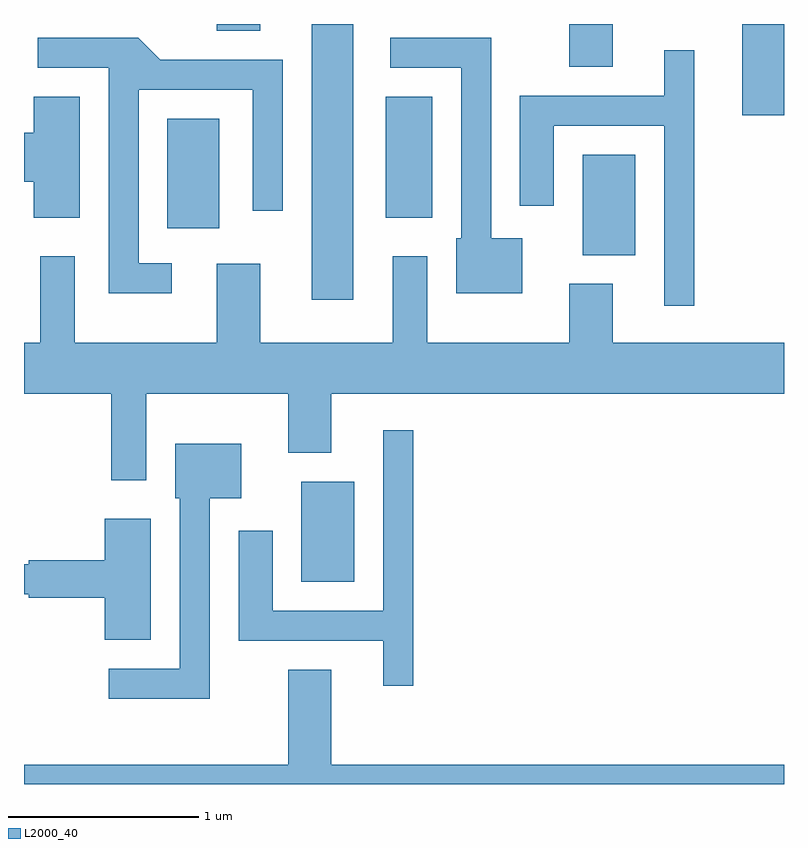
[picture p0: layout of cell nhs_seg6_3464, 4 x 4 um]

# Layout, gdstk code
import gdstk
lib = gdstk.Library(unit=1e-6, precision=1e-09)
def R(c, l, rs):  # rectangles x0, y0, x1, y1
    for r in rs: c.add(gdstk.rectangle(r[:2], r[2:], *l))
def P(c, l, *ps):  # polygons
    for p in ps: c.add(gdstk.Polygon(p, *l))
L2000_40 = (2000, 40)

nhs_seg6_3464 = lib.new_cell('nhs_seg6_3464')
R(nhs_seg6_3464, L2000_40, [(291.071,1591.226,291.349,1591.754), (291.126,1592.711,291.344,1594.162), (292.551,1592.946,292.829,1593.474), (290.366,1593.086,290.639,1593.664), (291.516,1593.141,291.759,1593.779), (293.391,1593.681,293.611,1594.162), (292.481,1593.936,292.709,1594.162), (290.626,1594.126,290.854,1594.162)])
P(nhs_seg6_3464, L2000_40, [(290.388,1592.904),(290.214,1592.904),(290.214,1593.816),(290.816,1593.816),(290.816,1593.178),(290.974,1593.178),(290.974,1593.974),(290.327,1593.974),(290.212,1594.089),(289.683,1594.089),(289.683,1593.931),(290.056,1593.931),(290.056,1592.746),(290.388,1592.746)],
  [(292.234,1593.034),(292.069,1593.034),(292.069,1594.089),(291.538,1594.089),(291.538,1593.931),(291.911,1593.931),(291.911,1593.034),(291.886,1593.034),(291.886,1592.746),(292.234,1592.746)],
  [(293.139,1594.023),(292.981,1594.023),(292.981,1593.784),(292.221,1593.784),(292.221,1593.206),(292.399,1593.206),(292.399,1593.626),(292.981,1593.626),(292.981,1592.678),(293.139,1592.678)],
  [(289.904,1593.779),(289.661,1593.779),(289.661,1593.589),(289.611,1593.589),(289.611,1593.331),(289.661,1593.331),(289.661,1593.141),(289.904,1593.141)],
  [(290.254,1592.216),(291.001,1592.216),(291.001,1591.906),(291.229,1591.906),(291.229,1592.216),(293.611,1592.216),(293.611,1592.484),(292.709,1592.484),(292.709,1592.794),(292.481,1592.794),(292.481,1592.484),(291.734,1592.484),(291.734,1592.939),(291.551,1592.939),(291.551,1592.484),(290.854,1592.484),(290.854,1592.899),(290.626,1592.899),(290.626,1592.484),(289.879,1592.484),(289.879,1592.939),(289.696,1592.939),(289.696,1592.484),(289.611,1592.484),(289.611,1592.216),(290.071,1592.216),(290.071,1591.761),(290.254,1591.761)],
  [(291.659,1592.023),(291.501,1592.023),(291.501,1591.074),(290.919,1591.074),(290.919,1591.494),(290.741,1591.494),(290.741,1590.916),(291.501,1590.916),(291.501,1590.678),(291.659,1590.678)],
  [(290.589,1591.666),(290.754,1591.666),(290.754,1591.954),(290.406,1591.954),(290.406,1591.666),(290.431,1591.666),(290.431,1590.769),(290.058,1590.769),(290.058,1590.611),(290.589,1590.611)],
  [(290.279,1591.559),(290.036,1591.559),(290.036,1591.339),(289.636,1591.339),(289.636,1591.319),(289.611,1591.319),(289.611,1591.161),(289.636,1591.161),(289.636,1591.141),(290.036,1591.141),(290.036,1590.921),(290.279,1590.921)],
  [(293.611,1590.264),(291.229,1590.264),(291.229,1590.764),(291.001,1590.764),(291.001,1590.264),(289.611,1590.264),(289.611,1590.162),(293.611,1590.162)])

lib.write_gds('nhs_seg6_3464.gds')
